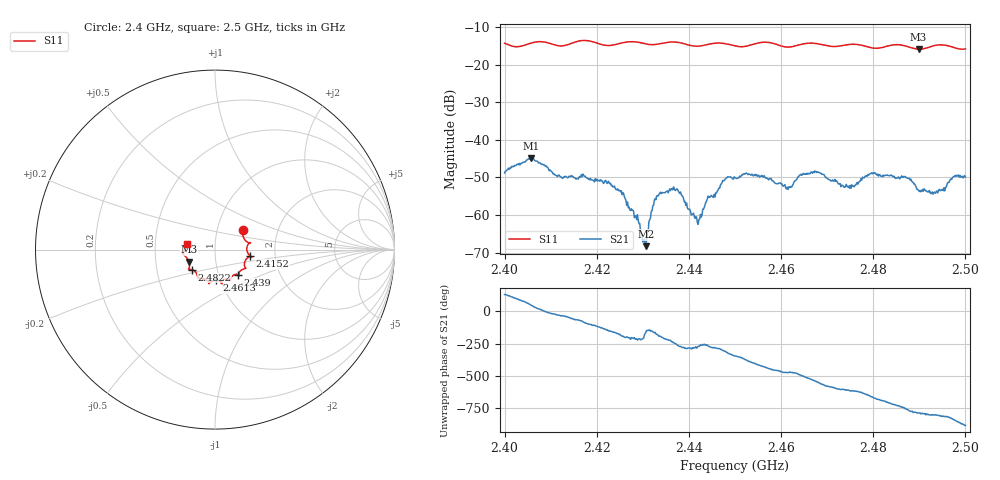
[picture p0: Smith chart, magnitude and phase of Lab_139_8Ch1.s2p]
# Hz S RI R 50
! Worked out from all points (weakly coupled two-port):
!   601 points, 2.4 GHz to 2.5 GHz, reference 50 ohm
!   highest |S21| = -44.85 dB at 2.4058 GHz (marker M1); lowest = -68.3 dB at 2.4307 GHz (marker M2)
!   lowest |S11| = -15.9 dB at 2.4898 GHz (marker M3), VSWR 1.38, Z = 37 - j5.04 ohm
!   |S11| at or under -10 dB: start of sweep to end of sweep
!   S12 and S22 are empty: the file has one direction only
!   S11 on the Smith chart (normalised r, x): 2.4 GHz: 1.33, +0.31; 2.4152 GHz: 1.48, -0.11; 2.439 GHz: 1.24, -0.36; 2.4613 GHz: 0.96, -0.34; 2.4822 GHz: 0.76, -0.17; 2.5 GHz: 0.73, +0.05
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2.4e9  0.1562 0.1113  -0.0024 0.00271  0 0  0 0
2.405833e9  0.1903 0.0371  0.00389 0.0042  0 0  0 0
2.415167e9  0.1949 -0.0359  0.00153 -0.00274  0 0  0 0
2.416667e9  0.2045 -0.0418  0.00102 -0.00329  0 0  0 0
2.425333e9  0.167 -0.098  -0.00208 0.000285  0 0  0 0
2.430667e9  0.1521 -0.1113  -0.000364 -0.000124  0 0  0 0
2.432167e9  0.1381 -0.1217  -0.00123 -0.000484  0 0  0 0
2.433333e9  0.1329 -0.1326  -0.00178 0.000152  0 0  0 0
2.437167e9  0.1354 -0.1461  -0.000682 0.00203  0 0  0 0
2.439e9  0.1282 -0.1391  0.000394 0.00145  0 0  0 0
2.442333e9  0.0956 -0.1484  -1.89e-05 0.000885  0 0  0 0
2.444333e9  0.0852 -0.1663  5.42e-05 0.00171  0 0  0 0
2.45e9  0.0688 -0.1635  0.00304 0.000752  0 0  0 0
2.456e9  0.0381 -0.1944  0.00128 -0.003  0 0  0 0
2.461333e9  0.00796 -0.1708  -0.001 -0.00212  0 0  0 0
2.466667e9  -0.0334 -0.1904  -0.00365 -0.00064  0 0  0 0
2.474333e9  -0.0886 -0.1611  -0.000688 0.00228  0 0  0 0
2.482167e9  -0.1281 -0.1119  0.00308 0.0014  0 0  0 0
2.483333e9  -0.1395 -0.1103  0.00331 0.000513  0 0  0 0
2.489833e9  -0.1456 -0.0664  0.00074 -0.00201  0 0  0 0
2.4935e9  -0.1786 -0.0253  0.000193 -0.00193  0 0  0 0
2.5e9  -0.1584 0.0333  -0.00312 -0.000715  0 0  0 0
